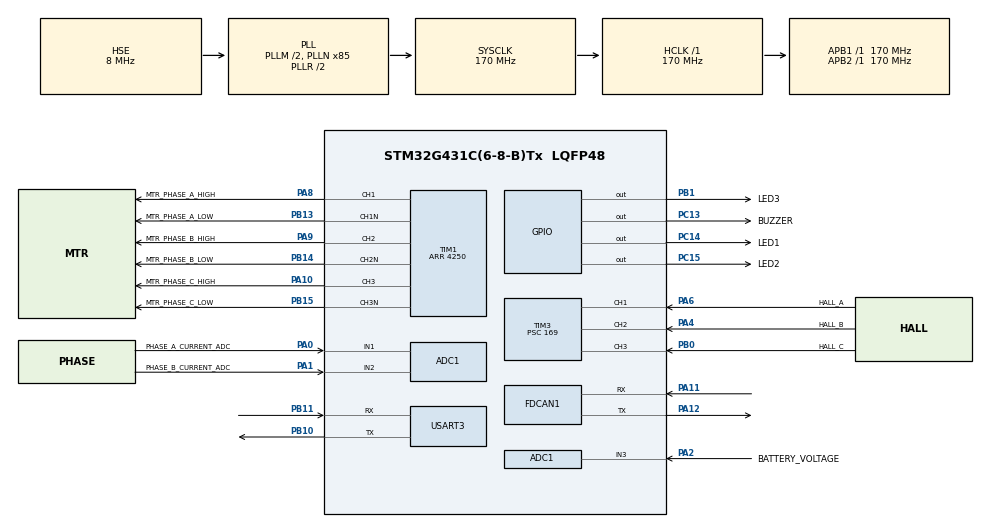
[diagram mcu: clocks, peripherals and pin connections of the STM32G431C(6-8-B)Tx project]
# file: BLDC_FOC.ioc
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ADC1.Channel-0\#ChannelRegularConversion=ADC_CHANNEL_3
ADC1.ContinuousConvMode=DISABLE
ADC1.EnableInjectedConversion=ENABLE
ADC1.ExternalTrigInjecConv=ADC_EXTERNALTRIGINJEC_T1_TRGO
ADC1.InjNumberOfConversion=2
ADC1.InjectedChannel-1\#ChannelInjectedConversion=ADC_CHANNEL_1
ADC1.InjectedChannel-2\#ChannelInjectedConversion=ADC_CHANNEL_2
ADC1.InjectedOffsetNumber-1\#ChannelInjectedConversion=ADC_OFFSET_NONE
ADC1.InjectedOffsetNumber-2\#ChannelInjectedConversion=ADC_OFFSET_NONE
ADC1.InjectedRank-1\#ChannelInjectedConversion=1
ADC1.InjectedRank-2\#ChannelInjectedConversion=2
ADC1.InjectedSamplingTime-1\#ChannelInjectedConversion=ADC_SAMPLETIME_24CYCLES_5
ADC1.InjectedSamplingTime-2\#ChannelInjectedConversion=ADC_SAMPLETIME_24CYCLES_5
ADC1.NbrOfConversionFlag=1
ADC1.OffsetNumber-0\#ChannelRegularConversion=ADC_OFFSET_NONE
ADC1.Rank-0\#ChannelRegularConversion=1
ADC1.Rank1_Channel=ADC_CHANNEL_1
ADC1.Rank2_Channel=ADC_CHANNEL_2
ADC1.SamplingTime-0\#ChannelRegularConversion=ADC_SAMPLETIME_12CYCLES_5
ADC1.master=1
FDCAN1.AutoRetransmission=ENABLE
FDCAN1.CalculateBaudRateNominal=3333333
FDCAN1.CalculateTimeBitNominal=300
FDCAN1.CalculateTimeQuantumNominal=100.0
FDCAN1.DataTimeSeg1=6
FDCAN1.DataTimeSeg2=3
FDCAN1.NominalPrescaler=17
Mcu.Family=STM32G4
Mcu.Name=STM32G431C(6-8-B)Tx
Mcu.Package=LQFP48
NVIC.FDCAN1_IT0_IRQn=true\:0\:0\:false\:false\:true\:true\:true\:true
NVIC.FMAC_IRQn=true\:0\:0\:false\:false\:true\:true\:true\:true
NVIC.PriorityGroup=NVIC_PRIORITYGROUP_4
NVIC.TIM3_IRQn=true\:0\:0\:false\:false\:true\:true\:true\:true
PA0.GPIO_Label=PHASE_A_CURRENT_ADC
PA0.Mode=IN1-Single-Ended
PA0.Signal=ADC1_IN1
PA1.GPIO_Label=PHASE_B_CURRENT_ADC
PA1.Mode=IN2-Single-Ended
PA1.Signal=ADC1_IN2
PA10.GPIO_Label=MTR_PHASE_C_HIGH
PA10.Signal=S_TIM1_CH3
PA11.Mode=FDCAN_Activate
PA11.Signal=FDCAN1_RX
PA12.Mode=FDCAN_Activate
PA12.Signal=FDCAN1_TX
PA13.Mode=Serial_Wire
PA13.Signal=SYS_JTMS-SWDIO
PA14.Mode=Serial_Wire
PA14.Signal=SYS_JTCK-SWCLK
PA2.GPIO_Label=BATTERY_VOLTAGE
PA2.Mode=IN3-Single-Ended
PA2.Signal=ADC1_IN3
PA4.GPIO_Label=HALL_B
PA4.Signal=S_TIM3_CH2
PA6.GPIO_Label=HALL_A
PA6.Signal=S_TIM3_CH1
PA8.GPIO_Label=MTR_PHASE_A_HIGH
PA8.Signal=S_TIM1_CH1
PA9.GPIO_Label=MTR_PHASE_B_HIGH
PA9.Signal=S_TIM1_CH2
PB0.GPIO_Label=HALL_C
PB0.Signal=S_TIM3_CH3
PB1.GPIO_Label=LED3
PB1.Signal=GPIO_Output
PB10.Mode=Asynchronous
PB10.Signal=USART3_TX
PB11.Mode=Asynchronous
PB11.Signal=USART3_RX
PB13.GPIO_Label=MTR_PHASE_A_LOW
PB13.Mode=PWM Generation1 CH1 CH1N
PB13.Signal=TIM1_CH1N
PB14.GPIO_Label=MTR_PHASE_B_LOW
PB14.Mode=PWM Generation2 CH2 CH2N
PB14.Signal=TIM1_CH2N
PB15.GPIO_Label=MTR_PHASE_C_LOW
PB15.Mode=PWM Generation3 CH3 CH3N
PB15.Signal=TIM1_CH3N
PC13.GPIO_Label=BUZZER
PC13.Signal=GPIO_Output
PC14-OSC32_IN.GPIO_Label=LED1
PC14-OSC32_IN.Signal=GPIO_Output
PC15-OSC32_OUT.GPIO_Label=LED2
PC15-OSC32_OUT.Signal=GPIO_Output
PF0-OSC_IN.Mode=HSE-External-Oscillator
PF0-OSC_IN.Signal=RCC_OSC_IN
PF1-OSC_OUT.Mode=HSE-External-Oscillator
PF1-OSC_OUT.Signal=RCC_OSC_OUT
ProjectManager.HeapSize=0x200
ProjectManager.StackSize=0x400
ProjectManager.TargetToolchain=CMake
RCC.ADC12Freq_Value=170000000
RCC.AHBFreq_Value=170000000
RCC.APB1Freq_Value=170000000
RCC.APB1TimFreq_Value=170000000
RCC.APB2Freq_Value=170000000
RCC.APB2TimFreq_Value=170000000
RCC.CortexFreq_Value=170000000
RCC.EXTERNAL_CLOCK_VALUE=12288000
RCC.HCLKFreq_Value=170000000
RCC.HSE_VALUE=8000000
RCC.HSI48_VALUE=48000000
RCC.HSI_VALUE=16000000
RCC.LSE_VALUE=32768
RCC.PLLM=RCC_PLLM_DIV2
RCC.PLLN=85
RCC.PLLSourceVirtual=RCC_PLLSOURCE_HSE
RCC.SYSCLKFreq_VALUE=170000000
RCC.SYSCLKSource=RCC_SYSCLKSOURCE_PLLCLK
RCC.USBFreq_Value=170000000
RCC.VCOOutputFreq_Value=340000000
SH.S_TIM1_CH1.0=TIM1_CH1,PWM Generation1 CH1 CH1N
SH.S_TIM1_CH2.0=TIM1_CH2,PWM Generation2 CH2 CH2N
SH.S_TIM1_CH3.0=TIM1_CH3,PWM Generation3 CH3 CH3N
SH.S_TIM3_CH1.0=TIM3_CH1,Xored_Inputs_Hall_Sensor_Interface
SH.S_TIM3_CH2.0=TIM3_CH2,Xored_Inputs_Hall_Sensor_Interface
SH.S_TIM3_CH3.0=TIM3_CH3,Xored_Inputs_Hall_Sensor_Interface
TIM1.Channel-PWM\ Generation1\ CH1\ CH1N=TIM_CHANNEL_1
TIM1.Channel-PWM\ Generation2\ CH2\ CH2N=TIM_CHANNEL_2
TIM1.Channel-PWM\ Generation3\ CH3\ CH3N=TIM_CHANNEL_3
TIM1.CounterMode=TIM_COUNTERMODE_CENTERALIGNED1
TIM1.DeadTime=85
TIM1.PeriodNoDither=4250
TIM1.RepetitionCounter=1
TIM3.IC1Filter=8
TIM3.Prescaler=169
USART3.VirtualMode-Asynchronous=VM_ASYNC
VP_CORDIC_VS_CORDIC.Mode=CORDIC_Activate
VP_FMAC_VS_FMAC.Mode=FMAC_Activate
VP_SYS_VS_DBSignals.Mode=DisableDeadBatterySignals
VP_TIM1_VS_ClockSourceINT.Mode=Internal
board=custom

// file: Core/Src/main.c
/* USER CODE BEGIN Header */
/**
  ******************************************************************************
  * @file           : main.c
  * @brief          : Main program body
  ******************************************************************************
  * @attention
  *
  * Copyright (c) 2026 STMicroelectronics.
  * All rights reserved.
  *
  * This software is licensed under terms that can be found in the LICENSE file
  * in the root directory of this software component.
  * If no LICENSE file comes with this software, it is provided AS-IS.
  *
  ******************************************************************************
  */
/* USER CODE END Header */
#include "main.h"
#include "adc.h"
#include "cordic.h"
#include "fdcan.h"
#include "fmac.h"
#include "tim.h"
#include "usart.h"
#include "gpio.h"

/* USER CODE BEGIN Includes */
#include "FOC_Driver.h"
#include "Hall.h"
#include "stdlib.h"
#include "string.h"
#include "stdio.h"
/* USER CODE END Includes */

void SystemClock_Config(void);
/* USER CODE BEGIN PFP */
void FDCAN_Send_Telemetry(void);
void Process_Debug_Command(void);
/* USER CODE END PFP */

// =======================================================================================================================
// =======================================================================================================================
// =======================================================================================================================

/* USER CODE BEGIN 0 */
// FOC kütüphanemizde oluşturduğumuz handle yapısı ile bir tane nesne tanımlıyoruz.
FOC_Handle_t motor1;

// Gerçek akım değerlerine çevirmek için offset tanımlamalarımızı yaptık.
// İdealde bu değer 3.3V / 2 = 1.65V olması gerekir ama donanımdan dolayı illaki sapmalar olacaktır.
float offset_ia = 0.0f;
float offset_ib = 0.0f;

// Kalibrasyon için kullanılacak bayrak ve sayaçlar
bool is_calibrated = false;
uint32_t calib_sum_a = 0;
uint32_t calib_sum_b = 0;
uint16_t calib_count = 0;
#define CALIBRATION_SAMPLES 1000 // 20kHz'de 1000 örnek = 50 milisaniye sürer

// CAN Bus haberleşmesinde tek paket içinde 8 Byte veri taşınabilir.
// Ana bilgisayar (Jetson, Raspberry Pi veya herhangi bir gömülü sistem) hedef hız ve hedef tork gönderecek.
// Bu veriler float veri tipinde gelebilir. Float veri paketi ise 4 byte yer kaplar.
// Biz bu 4 byte'lık veri paketini CAN paketlerine parçalayacağız.
// Bunun içinde Union kullanacağız.
// Union hafızadaki aynı adresi farklı veri tipleri ile okumamı sağlar.
// Burada kullanılmasının sebebi: Normalde struct normal tanımlanırsa içindeki her değişken RAM'de kendine ait adreslere yerleşir.
// Fakat union tanımladığında değişkenlerin hepsi aynı adrese tanımlanır.
// Avantajı ise şudur: Jetson bize float veri gönderdiğinde (içinde her şeyin olduğu veri)....
// .... bu veriye biz converter.byte[0] şeklinde bakarsak o float verinin makine dilindeki parçalanmış ilk byte'nı doğrudan okuyabilirsin.
// Bunu şu şekilde de anlatmak isterim:
// Normalde biz direkt integer yani tam sayı alıyor olsak sıkıntı yok. Bit-Shifting yaparak byte'ları ayırabilirdik.
// Fakat C dilinde ondalıklar sayılarda bit-shifting yapmak yasaktır.
// Unıon kullandığımızda CPU'ya hiç matematiksel işlem yaptırmadan 4 byte'lık veriyi direkt CAN veri dizisine kopyalayabiliriz.

// Jetsondan gelecek örnek veri yapısı ( Byte 0: Kontrol için (0: Dur, 1: Tork Modu, 2: Hız Modu)
// Byte 1-4 : Gönderilen değer
typedef union {
    float float_val;
    uint8_t bytes[4];
} FloatConverter;

// Debug ve PID parametre değiştirmek için seri port veri tanımlamaları.
#define RX_BUFFER_SIZE 64
uint8_t rx_byte; // Anlık okunan tek karakter
char rx_buffer[RX_BUFFER_SIZE]; // Karakterlerin birleştiği kelime
uint8_t rx_index = 0;
bool command_ready = false;
/* USER CODE END 0 */

// =======================================================================================================================
// =======================================================================================================================
// =======================================================================================================================

int main(void)
{

  /* USER CODE BEGIN 1 */

  // CAN verilerini ana bilgisayara loglarken zaman damgası eklemek için bir kronometre (timer) tanımlayalım.
  uint32_t last_telemetry_time = 0; // Kronometremizin başlangıç noktası

  /* USER CODE END 1 */

  /* MCU Configuration--------------------------------------------------------*/

  /* Reset of all peripherals, Initializes the Flash interface and the Systick. */
  HAL_Init();

  /* Configure the system clock */
  SystemClock_Config();

  /* Initialize all configured peripherals */
  MX_GPIO_Init();
  MX_CORDIC_Init();
  MX_FDCAN1_Init();
  MX_ADC1_Init();
  MX_TIM1_Init();
  MX_USART3_UART_Init();
  MX_FMAC_Init();
  MX_TIM3_Init();

// =======================================================================================================================
// =======================================================================================================================
// =======================================================================================================================

  /* USER CODE BEGIN 2 */

  // Bu kısımda tamamen çevre birimlerini ayağa kaldırılır ve FOC ayarları ve ADC kalibrasyonu yapılır.
  HAL_GPIO_WritePin(GPIOC, GPIO_PIN_15, GPIO_PIN_SET); // Buzzer ON
  HAL_Delay(100);
  HAL_GPIO_WritePin(GPIOC, GPIO_PIN_15, GPIO_PIN_RESET); // Buzzer OFF
  // Hall sensörü TIMER'ının başlatılması
  HALL_Init(&htim3);
  // ADC çalıştırılmadan önce kalibre edilmesi gerekir.
  HAL_ADCEx_Calibration_Start(&hadc1, ADC_SINGLE_ENDED);

  // FOC sürücüsünün parametrelerinin tanımlanması
  FOC_Driver_Init(&motor1);
  // Motorun parametreleri ( Bu değerler datasheet'ten alınır ve motorun gerçek değerlerine göre güncellenir.)
  motor1.config.pole_pairs = 15; // Motorun kutup sayısı
  motor1.config.R_phase = 0.5f; // Faz direnci (Ohm cinsinden)
  motor1.config.L_d = 0.0003f; // d ekseni endüktansı (Henry cinsinden)
  motor1.config.L_q = 0.0003f; // q ekseni endüktansı (Henry cinsinden)
  motor1.config.flux_linkage = 0.015f; // Kalıcı mıknatıs akı halkalanması (Weber cinsinden)
  // Sistem limit parametreleri
  motor1.config.voltage_limit = 36.0f; // Maksimum voltaj limiti
  motor1.config.current_limit = 15.0f; // Maksimum akım limiti (Bu değeri ADC'nin ölçebilceği max akım değerinden biraz daha az şekilde alacağız. MAX akım değeri ise şu formül ile hesaplanır Imax= ((V_max-V_offset)/(R_shontxGain)) ).
  motor1.config.I_s_max = 15.0f; // Güvenlik için maksimum sistem akımı
  motor1.config.Ts = 0.00005f; // Örnekleme süresi (20kHz olduğu için 1/f yaparak buluyoruz).
  motor1.config.current_ctrl_mode = true; // FOC algoritmasını aktif hale getiriyoruz.
  // PID katsayılarını gir. (İlk değerler olduğu için güvenlik amaçlı düşük tutulmuştur.)
  motor1.config.Kp_d = 0.1f;
  motor1.config.Ki_d = 0.01f;
  motor1.config.Kp_q = 0.1f;
  motor1.config.Ki_q = 0.01f;

  // Burada donanımın başlatılması için gereken ayarlar yapılır.
  // Sıralaması önemlidir çünkü ADC başlatıldıkta sonra tetiklenmesi gerekir.
  HAL_ADCEx_InjectedStart_IT(&hadc1);
  // Daha sonrasında TIM! PWM kanalları başlatılır.
  HAL_TIM_PWM_Start(&htim1, TIM_CHANNEL_1);
  HAL_TIMEx_PWMN_Start(&htim1, TIM_CHANNEL_1);
  HAL_TIM_PWM_Start(&htim1, TIM_CHANNEL_2);
  HAL_TIMEx_PWMN_Start(&htim1, TIM_CHANNEL_2);
  HAL_TIM_PWM_Start(&htim1, TIM_CHANNEL_3);
  HAL_TIMEx_PWMN_Start(&htim1, TIM_CHANNEL_3);
  // NOT: HAL_TIM_PWM_Start() fonksiyonu normal kanallar için, HAL_TIMEx_PWMN_Start() ise tamamlayıcı kanallar için kullanılır.

  // CAN bağlantısı başarılı bir şekilde kuruldumu kontrol amaçlı ayarın başında açıyorum. Sonunda kapatacağım
  HAL_GPIO_WritePin(GPIOB, GPIO_PIN_1, GPIO_PIN_SET);

  // 1. Gelen Mesajlar İçin Filtre Ayarı (Sadece 0x11 ID'sini kabul et)
  FDCAN_FilterTypeDef sFilterConfig;
  sFilterConfig.IdType = FDCAN_STANDARD_ID;
  sFilterConfig.FilterIndex = 0;
  sFilterConfig.FilterType = FDCAN_FILTER_MASK;
  sFilterConfig.FilterConfig = FDCAN_FILTER_TO_RXFIFO0; // Gelenler FIFO0'a düşsün
  sFilterConfig.FilterID1 = 0x11; // Kabul edilecek ID (Bu kartın ID'si)
  sFilterConfig.FilterID2 = 0x7FF; // Maske (Tüm bitlerin tam eşleşmesini istiyoruz)

  HAL_FDCAN_ConfigFilter(&hfdcan1, &sFilterConfig);

  // 2. Global Filtre Ayarı: Filtreden geçemeyen (diğer motorların) mesajlarını Reddet (Reject)
  HAL_FDCAN_ConfigGlobalFilter(&hfdcan1, FDCAN_REJECT, FDCAN_REJECT, FDCAN_FILTER_REMOTE, FDCAN_FILTER_REMOTE);

  // 3. FDCAN Modülünü Başlat
  HAL_FDCAN_Start(&hfdcan1);

  // 4. Yeni mesaj geldiğinde Bize Haber Ver (Interrupt'ı aktif et)
  HAL_FDCAN_ActivateNotification(&hfdcan1, FDCAN_IT_RX_FIFO0_NEW_MESSAGE, 0);

  HAL_GPIO_WritePin(GPIOB, GPIO_PIN_1, GPIO_PIN_RESET);

  // Seri port üzerinden başlatılan kesme ile komut alma işlemi için UART kesmesini aktif ediyoruz.
  HAL_UART_Receive_IT(&huart3, &rx_byte, 1);
  /* USER CODE END 2 */

// =======================================================================================================================
// =======================================================================================================================
// =======================================================================================================================

  /* Infinite loop */
  /* USER CODE BEGIN WHILE */
  while (1)
  {

    // 1. Yeni gelen debug komutu var mı diye sürekli kontrol et
    Process_Debug_Command();

    // Sistemin o anki saatini al
    uint32_t current_time = HAL_GetTick();

    // Son gönderimden bu yana 20 milisaniye geçti mi?
    if (current_time - last_telemetry_time >= 20)
    {
        last_telemetry_time = current_time; // Kronometreyi sıfırla

        // --- A. FDCAN Üzerinden Jetson'a Telemetri Gönder ---
        FDCAN_Send_Telemetry();

        // --- B. Web Arayüzü İçin UART Üzerinden Veri Bas ---
        char tx_buffer[100];
        int len = snprintf(tx_buffer, sizeof(tx_buffer), ">V:%.1f,I:%.2f,W:%.1f,T:%.2f\r\n",
                           motor1.input.U_bat,
                           motor1.state.i_q,
                           motor1.input.w_rad_s * 9.549f, // RPM
                           motor1.input.T_mot_ref);

        HAL_UART_Transmit_IT(&huart3, (uint8_t*)tx_buffer, len);
    }

    /* USER CODE END WHILE */

  }
}

void SystemClock_Config(void)
{
  RCC_OscInitTypeDef RCC_OscInitStruct = {0};
  RCC_ClkInitTypeDef RCC_ClkInitStruct = {0};

  /** Configure the main internal regulator output voltage
  */
  HAL_PWREx_ControlVoltageScaling(PWR_REGULATOR_VOLTAGE_SCALE1_BOOST);

  /** Initializes the RCC Oscillators according to the specified parameters
  * in the RCC_OscInitTypeDef structure.
  */
  RCC_OscInitStruct.OscillatorType = RCC_OSCILLATORTYPE_HSE;
  RCC_OscInitStruct.HSEState = RCC_HSE_ON;
  RCC_OscInitStruct.PLL.PLLState = RCC_PLL_ON;
  RCC_OscInitStruct.PLL.PLLSource = RCC_PLLSOURCE_HSE;
  RCC_OscInitStruct.PLL.PLLM = RCC_PLLM_DIV2;
  RCC_OscInitStruct.PLL.PLLN = 85;
  RCC_OscInitStruct.PLL.PLLP = RCC_PLLP_DIV2;
  RCC_OscInitStruct.PLL.PLLQ = RCC_PLLQ_DIV2;
  RCC_OscInitStruct.PLL.PLLR = RCC_PLLR_DIV2;
  if (HAL_RCC_OscConfig(&RCC_OscInitStruct) != HAL_OK)
  {
    Error_Handler();
  }

  /** Initializes the CPU, AHB and APB buses clocks
  */
  RCC_ClkInitStruct.ClockType = RCC_CLOCKTYPE_HCLK|RCC_CLOCKTYPE_SYSCLK
                              |RCC_CLOCKTYPE_PCLK1|RCC_CLOCKTYPE_PCLK2;
  RCC_ClkInitStruct.SYSCLKSource = RCC_SYSCLKSOURCE_PLLCLK;
  RCC_ClkInitStruct.AHBCLKDivider = RCC_SYSCLK_DIV1;
  RCC_ClkInitStruct.APB1CLKDivider = RCC_HCLK_DIV1;
  RCC_ClkInitStruct.APB2CLKDivider = RCC_HCLK_DIV1;

  if (HAL_RCC_ClockConfig(&RCC_ClkInitStruct, FLASH_LATENCY_4) != HAL_OK)
  {
    Error_Handler();
  }
}

// =======================================================================================================================
// =======================================================================================================================
// =======================================================================================================================

/* USER CODE BEGIN 4 */

// Bu kısımda artık ADC'den gelen veriler okunacak ama önemli bir detay var:
// Sadece ADC değerleri okuması değil biz CubeMX ayarları yaparken ve motorun daha sessiz dönmesini sağlamak için....
// ADC'nin tetiklenme kaynağını TIM1'in güncelleme olayına (Update Event) bağlamıştık. Yani her TIM1'in güncelleme olayında ADC tetiklenecek ve yeni bir veri seti okuyacak.
// Bu yüzden ADC'nin okuma işlemi kesme (Interrupt) ile yapılır. Yani ADC yeni bir veri okuduğunda bir kesme oluşturur ve biz de bu kesme içerisinde ADC verilerini okuyarak FOC algoritmamıza girdi olarak veririz. Bu sayede her zaman güncel verilere sahip oluruz ve motorumuzun performansı artar.
// ÖZET sıralama:
// 1. TIM1 sayıcısı 0 değerine iner.
// 2. TIM1 donanımsal olarak ADC'yi tetikler.
// 3. ADC hemen FAZA ve FAZB akımlarını okur ve JDR1 ve JDR2 register'larına yazar.
// 4. Akımlar okunduktan sonra açı değeri ile referans tork FOC'ye girer ve FOC algoritması çalışır.
void HAL_ADCEx_InjectedConvCpltCallback(ADC_HandleTypeDef *hadc)
{
    if (hadc->Instance == ADC1)
    {
        // 1. ADC Raw Değerlerini Donanım Register'ından Şimşek Hızıyla Oku
        uint32_t raw_ia = hadc->Instance->JDR1; // Faz A
        uint32_t raw_ib = hadc->Instance->JDR2; // Faz B

        // <<--- KALİBRASYON AŞAMASI --->>
        if (!is_calibrated)
        {
            calib_sum_a += raw_ia;
            calib_sum_b += raw_ib;
            calib_count++;

            // LED1 ile kalibrasyon durumunu kontrol edeceğiz. Eğer yanıp sönüyorsa kalibrasyon devam ediyor demektir.
            if (calib_count % 200 == 0) {
                HAL_GPIO_TogglePin(GPIOC, GPIO_PIN_14); // LED1 Toggle
            }

            if (calib_count >= CALIBRATION_SAMPLES)
            {
                // 1000 örneğin ortalamasını al ve Voltaja çevir
                float avg_raw_a = (float)calib_sum_a / (float)CALIBRATION_SAMPLES;
                float avg_raw_b = (float)calib_sum_b / (float)CALIBRATION_SAMPLES;

                offset_ia = (avg_raw_a / 4095.0f) * 3.3f;
                offset_ib = (avg_raw_b / 4095.0f) * 3.3f;

                is_calibrated = true; // Kalibrasyon bitti, FOC başlayabilir!

                // Kalibrasyon bittiğide LED1'i sürekli yakıyoruzki bittiğini anlayalım.
                HAL_GPIO_WritePin(GPIOC, GPIO_PIN_14, GPIO_PIN_SET);
            }

            // Kalibrasyon bitene kadar motoru tamamen serbest (0 Duty) bırakıyoruz
            TIM1->CCR1 = 0;
            TIM1->CCR2 = 0;
            TIM1->CCR3 = 0;
            return; // Kesmeden çık, FOC'a girme
        }

        // 2. Ham değerleri Voltaja, oradan da Amper'e (A) çevir
        float v_ia = ((float)raw_ia / 4095.0f) * 3.3f;
        float v_ib = ((float)raw_ib / 4095.0f) * 3.3f;

        motor1.input.i_a_meas = (v_ia - offset_ia) / 0.1f;
        motor1.input.i_b_meas = (v_ib - offset_ib) / 0.1f;

        // 3. Batarya Voltajını Oku (Regular kanaldan okuduğunu varsayıyoruz)
        // motor1.input.U_bat = ... (Batarya okuma fonksiyonundan gelecek)
        motor1.input.U_bat = 36.0f; // Şimdilik sabit tutalım

        // 4. Hall Sensöründen Açı ve Hız Bilgilerini Al
        // Not: Dereceyi Radyana çeviren fonksiyonu (HALL_GetElectricalAngle_Rad) kullandık!
        motor1.input.Electrical_Angle_rad = HALL_GetElectricalAngle_Rad();
        motor1.input.w_rad_s = HALL_GetSpeed_RPM() * 0.104719755f; // RPM to Rad/s dönüşümü

        // 5. Jetson'dan gelen hedef torku ayarla (Şimdilik test için 0.5 Nm diyelim)
        motor1.input.T_mot_ref = 0.5f;

        // 6. EFSANE FONKSİYONU ÇAĞIR (FOC Matematiği Çalışsın)
        FOC_Current_Controller(&motor1);

        // Failsafe durumları için (akım limiti aşıldı mı?)
       if (motor1.input.i_a_meas > motor1.config.I_s_max || motor1.input.i_a_meas < -motor1.config.I_s_max ||
        motor1.input.i_b_meas > motor1.config.I_s_max || motor1.input.i_b_meas < -motor1.config.I_s_max)
       {
        // Sisteme acil durdurma ver!
        HAL_GPIO_WritePin(GPIOB, GPIO_PIN_1, GPIO_PIN_SET); // LED3 (Hata) ON
        HAL_GPIO_WritePin(GPIOC, GPIO_PIN_13, GPIO_PIN_SET); // Buzzer Alarm ON
        motor1.config.current_ctrl_mode = false; // FOC'u durdur
       }

        // 7. Hesaplanan Duty Cycle'ları (0.0 - 1.0 arası) Donanıma (Timer'a) Yaz
        // Direkt CCR register'larına yazmalar yaptık. Daha hızlı olması için döngünün.
        // Hatırla: ARR değerimizi 4250 olarak hesaplamıştık. (20kHz olarak seçtiğimiz için)
        TIM1->CCR1 = (uint32_t)(motor1.output.duty_a * 4250.0f); // Faz A
        TIM1->CCR2 = (uint32_t)(motor1.output.duty_b * 4250.0f); // Faz B
        TIM1->CCR3 = (uint32_t)(motor1.output.duty_c * 4250.0f); // Faz C
    }
}

// NOT: Motorları bu şekilde sürmemizin asıl sebebi ve açıklaması MOSFET'ler en sessiz olduğu zaman....
// En gürültüsüz olduğu zamandır ve bu zamanda akım okuması yapıp MOSFET'leri sürmek en prüzsüz ve hassas kontrolü sağlamanın yoludur.

// =======================================================================================================================

// CAN HATTI RX
// Bu fonksiyon CAN hattından yeni bir mesaj düştüğünde otomatik çalışır
void HAL_FDCAN_RxFifo0Callback(FDCAN_HandleTypeDef *hfdcan, uint32_t RxFifo0ITs)
{
    FDCAN_RxHeaderTypeDef RxHeader;
    uint8_t RxData[8]; // Gelen 8 bytelık veriyi tutacağımız dizi

    // FIFO'daki mesajı oku ve RxData dizisine kopyala
    if (HAL_FDCAN_GetRxMessage(hfdcan, FDCAN_RX_FIFO0, &RxHeader, RxData) == HAL_OK)
    {
        // 1. Önce ID'yi kontrol edelim (Filtre zaten halletti ama çift dikiş olsun)
        if (RxHeader.Identifier == 0x11)
        {
            // LED2'yi toggle yapalım, veri geldiğini gözle görelim
            HAL_GPIO_TogglePin(GPIOB, GPIO_PIN_1);

            // 2. Byte 0'daki çalışma modunu oku
            uint8_t control_mode = RxData[0];

            // 3. Byte 1, 2, 3, 4'teki float veriyi birleştir (Union kullanarak)
            FloatConverter converter;
            converter.bytes[0] = RxData[1];
            converter.bytes[1] = RxData[2];
            converter.bytes[2] = RxData[3];
            converter.bytes[3] = RxData[4];

            // 4. Veriyi FOC Sürücü kütüphanemize besle
            if (control_mode == 1) // Tork Modu
            {
                motor1.config.current_ctrl_mode = true;
                motor1.input.T_mot_ref = converter.float_val; // Jetson'dan gelen tork değeri atandı!
            }
            else if (control_mode == 0) // Acil Durdurma / Boşa Çıkarma Modu
            {
                motor1.config.current_ctrl_mode = false;
                motor1.input.T_mot_ref = 0.0f;
                HAL_GPIO_TogglePin(GPIOB, GPIO_PIN_1); // LED2 Toggle (Acil durdurma geldiğinde de gözüksün diye)
            }
        }
    }
}

// =======================================================================================================================

// CAN HATTI TX
// Burada bir sıkıntı ortaya çıkıyor:
// Biz CAN hattı üzerinden 4 farklı veri göndermek istiyoruz. HIZ - AKIM - BATARYA VOLTAJI - DURUM
// Fakat bu verilerin her biri 4 byte ve toplamda 16 byte yapar.
// Sorun ise CAN hattı sadece 8 byte veri taşıyabilir.
// Burada 8 byte ilk veri olarak sürekli değişen hız ve akım verilerini göndereceğiz.
// Diğer 8 byte'ta ise batarya voltajı ve durum bilgisini göndereceğiz.
// Batarya voltajı ve durum bilgisi sürekkli değişen değerler olmadığı için hız ve akım değerine göre saniye içindeki gönderimi daha az olacak.
// Yani hatta iki farklı paket basacağız.
// Bu fonksiyon CAN hattına mesaj gönderildiğinde otomatik çalışır
void FDCAN_Send_Telemetry(void)
{
  // İki farklı paket için handle yapısı
    FDCAN_TxHeaderTypeDef TxHeader;
    uint8_t TxData[8];
    FloatConverter converter;

    // 1. PAKET: HIZ VE AKIM (ID: 0x21)
    TxHeader.Identifier = 0x21; // Motor 1'in 1. Telemetri ID'si
    TxHeader.IdType = FDCAN_STANDARD_ID;
    TxHeader.TxFrameType = FDCAN_DATA_FRAME;
    TxHeader.DataLength = FDCAN_DLC_BYTES_8; // 8 Byte yolluyoruz
    TxHeader.ErrorStateIndicator = FDCAN_ESI_ACTIVE;
    TxHeader.BitRateSwitch = FDCAN_BRS_OFF;
    TxHeader.FDFormat = FDCAN_CLASSIC_CAN;
    TxHeader.TxEventFifoControl = FDCAN_NO_TX_EVENTS;
    TxHeader.MessageMarker = 0;

    // Hızı (Rad/s'den RPM'e çevirip) Union içine atıyoruz
    converter.float_val = motor1.input.w_rad_s * 9.54929658f;
    TxData[0] = converter.bytes[0];
    TxData[1] = converter.bytes[1];
    TxData[2] = converter.bytes[2];
    TxData[3] = converter.bytes[3];

    // Aktif q ekseni akımını (Tork üreten akım) Union içine atıyoruz
    converter.float_val = motor1.state.i_q;
    TxData[4] = converter.bytes[0];
    TxData[5] = converter.bytes[1];
    TxData[6] = converter.bytes[2];
    TxData[7] = converter.bytes[3];

    // CAN FIFO'ya ekleyip gönderiyoruz.
    HAL_FDCAN_AddMessageToTxFifoQ(&hfdcan1, &TxHeader, TxData);

    // 2. MESAJ: BATARYA VE DURUM (ID: 0x31)
    TxHeader.Identifier = 0x31; // Motor 1'in 2. Telemetri ID'si
    TxHeader.DataLength = FDCAN_DLC_BYTES_5; // Bu sefer 5 Byte yeterli

    // Batarya Voltajını Union içine atıyoruz
    converter.float_val = motor1.input.U_bat;
    TxData[0] = converter.bytes[0];
    TxData[1] = converter.bytes[1];
    TxData[2] = converter.bytes[2];
    TxData[3] = converter.bytes[3];

    // 5. Byte olarak da Hata Durumu veya Mevcut Hall Sektörünü gönderelim
    TxData[4] = HALL_GetCurrentSector();

    // CAN FIFO'ya ekleyip gönderiyoruz.
    HAL_FDCAN_AddMessageToTxFifoQ(&hfdcan1, &TxHeader, TxData);
}

// =======================================================================================================================

void HAL_UART_RxCpltCallback(UART_HandleTypeDef *huart)
{
    if (huart->Instance == USART3)
    {
        // Gelen karakter Enter (\n veya \r) ise kelime bitmiştir
        if (rx_byte == '\n' || rx_byte == '\r')
        {
            rx_buffer[rx_index] = '\0'; // String sonlandırıcı ekle
            command_ready = true;       // Ana döngüye "Komut hazır" bayrağını çek
            rx_index = 0;               // Bir sonraki kelime için başa sar
        }
        else
        {
            rx_buffer[rx_index++] = rx_byte; // Karakteri diziye ekle
            if (rx_index >= RX_BUFFER_SIZE) rx_index = 0; // Taşma koruması
        }

        // Bir sonraki karakteri dinlemek için kesmeyi tekrar kur
        HAL_UART_Receive_IT(&huart3, &rx_byte, 1);
    }
}

// =======================================================================================================================

void Process_Debug_Command(void)
{
    if (!command_ready) return; // Yeni komut yoksa işlemciyi yorma, çık.

    // Komut P ile başlıyorsa (Proportional Gain)
    if (rx_buffer[0] == 'P')
    {
        float new_kp = atof(&rx_buffer[1]); // P'den sonrasını float'a çevir
        motor1.config.Kp_q = new_kp;
        motor1.config.Kp_d = new_kp;
    }
    // Komut I ile başlıyorsa (Integral Gain)
    else if (rx_buffer[0] == 'I')
    {
        float new_ki = atof(&rx_buffer[1]);
        motor1.config.Ki_q = new_ki;
        motor1.config.Ki_d = new_ki;
    }
    // Komut T ile başlıyorsa (Target Torque - Test İçin)
    else if (rx_buffer[0] == 'T')
    {
        float new_tq = atof(&rx_buffer[1]);
        motor1.input.T_mot_ref = new_tq;
        motor1.config.current_ctrl_mode = true; // Motoru aktifleştir
    }
    // Komut S ise (Stop)
    else if (rx_buffer[0] == 'S')
    {
        motor1.config.current_ctrl_mode = false;
        motor1.input.T_mot_ref = 0.0f;
    }

    command_ready = false; // Bayrağı indir, komut işlendi
}
/* USER CODE END 4 */

// =======================================================================================================================
// =======================================================================================================================
// =======================================================================================================================

void Error_Handler(void)
{
  __disable_irq();
  while (1)
  {
  }
}
